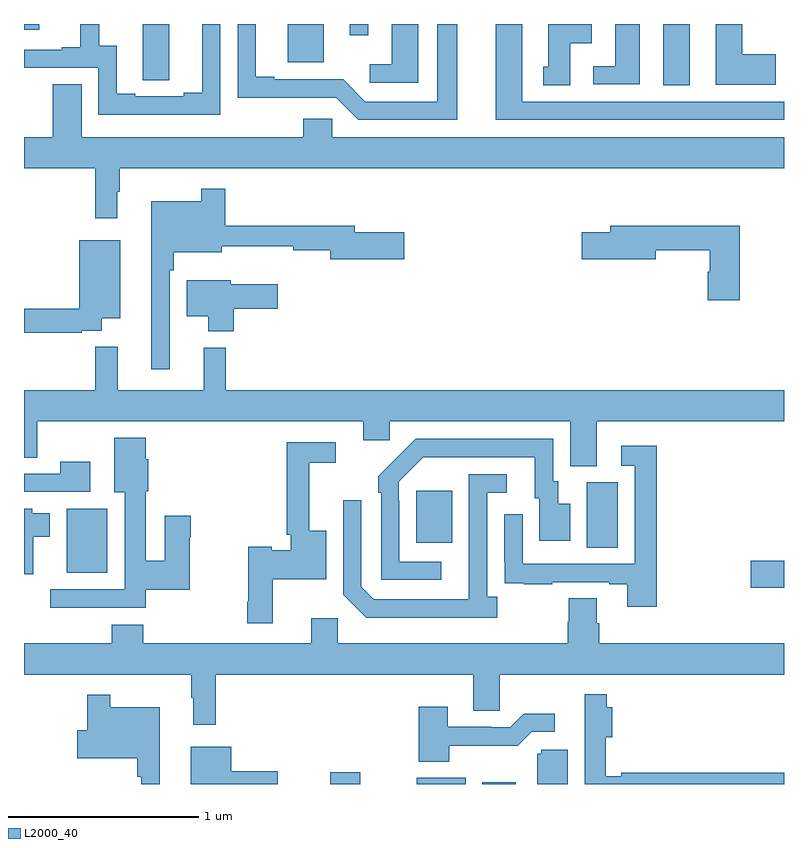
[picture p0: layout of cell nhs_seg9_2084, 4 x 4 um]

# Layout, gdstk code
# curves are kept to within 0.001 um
import gdstk
lib = gdstk.Library(unit=1e-6, precision=1e-09)
def R(c, l, rs):  # rectangles x0, y0, x1, y1
    for r in rs: c.add(gdstk.rectangle(r[:2], r[2:], *l))
def P(c, l, *ps):  # polygons
    for p in ps: c.add(gdstk.Polygon(p, *l))
L2000_40 = (2000, 40)

nhs_seg9_2084 = lib.new_cell('nhs_seg9_2084')
R(nhs_seg9_2084, L2000_40, [(230.612,1206.5,230.77,1206.562), (231.068,1206.5,231.326,1206.532), (231.411,1206.5,231.589,1206.508), (232.824,1207.534,233,1207.676), (229.226,1207.613,229.438,1207.948), (231.962,1207.744,232.126,1208.088), (231.065,1207.769,231.253,1208.044), (232.364,1210.177,232.504,1210.5), (230.387,1210.298,230.578,1210.5), (230.714,1210.44,230.811,1210.5), (229,1210.469,229.081,1210.5)])
P(nhs_seg9_2084, L2000_40, [(231.28,1210.5),(231.176,1210.5),(231.176,1210.092),(230.796,1210.092),(230.679,1210.209),(230.317,1210.209),(230.317,1210.222),(230.221,1210.222),(230.221,1210.5),(230.124,1210.5),(230.124,1210.112),(230.643,1210.113),(230.76,1209.996),(231.28,1209.996)],
  [(230.034,1210.5),(229.937,1210.5),(229.937,1210.139),(229.841,1210.139),(229.841,1210.119),(229.585,1210.119),(229.585,1210.134),(229.489,1210.134),(229.489,1210.385),(229.395,1210.385),(229.395,1210.5),(229.295,1210.5),(229.295,1210.378),(229.199,1210.378),(229.199,1210.365),(229,1210.365),(229,1210.269),(229.392,1210.269),(229.392,1210.023),(230.034,1210.023)],
  [(229.765,1210.5),(229.625,1210.5),(229.625,1210.312),(229.626,1210.312),(229.626,1210.204),(229.765,1210.204)],
  [(232.24,1210.5),(232.112,1210.5),(232.112,1210.278),(231.996,1210.278),(231.996,1210.182),(232.24,1210.182)],
  [(231.874,1210.4),(231.988,1210.4),(231.988,1210.5),(231.758,1210.5),(231.758,1210.275),(231.734,1210.275),(231.734,1210.177),(231.874,1210.177)],
  [(231.076,1210.5),(230.936,1210.5),(230.936,1210.288),(230.82,1210.288),(230.82,1210.191),(231.076,1210.191)],
  [(233,1210.092),(231.622,1210.092),(231.622,1210.5),(231.482,1210.5),(231.482,1209.996),(233,1209.996)],
  [(232.957,1210.341),(232.78,1210.341),(232.78,1210.5),(232.64,1210.5),(232.64,1210.181),(232.957,1210.181)],
  [(229.492,1209.617),(229.504,1209.617),(229.504,1209.74),(233,1209.74),(233,1209.904),(230.622,1209.904),(230.622,1210.002),(230.471,1210.002),(230.471,1209.904),(229.303,1209.904),(229.303,1210.184),(229.151,1210.184),(229.151,1209.904),(229,1209.904),(229,1209.74),(229.375,1209.74),(229.375,1209.477),(229.492,1209.477)],
  [(229.767,1209.203),(229.787,1209.203),(229.787,1209.299),(230.041,1209.299),(230.041,1209.329),(230.416,1209.329),(230.416,1209.31),(230.612,1209.31),(230.612,1209.263),(231.001,1209.263),(231.001,1209.405),(230.74,1209.405),(230.74,1209.439),(230.06,1209.439),(230.06,1209.634),(229.932,1209.634),(229.932,1209.568),(229.67,1209.568),(229.67,1208.682),(229.767,1208.682)],
  [(232.768,1209.439),(232.085,1209.439),(232.085,1209.405),(231.936,1209.405),(231.936,1209.263),(232.324,1209.263),(232.324,1209.31),(232.61,1209.31),(232.61,1209.195),(232.598,1209.195),(232.598,1209.045),(232.768,1209.045)],
  [(229.304,1208.886),(229.408,1208.886),(229.408,1208.951),(229.507,1208.951),(229.507,1209.361),(229.292,1209.361),(229.292,1209.002),(229,1209.002),(229,1208.874),(229.304,1208.874)],
  [(230.105,1209.001),(230.335,1209.001),(230.335,1209.13),(230.088,1209.13),(230.088,1209.151),(229.856,1209.151),(229.856,1208.963),(229.97,1208.963),(229.97,1208.882),(230.105,1208.882)],
  [(232.015,1208.408),(233,1208.408),(233,1208.572),(230.063,1208.572),(230.063,1208.797),(229.946,1208.797),(229.946,1208.572),(229.493,1208.572),(229.493,1208.801),(229.375,1208.801),(229.375,1208.572),(229,1208.572),(229,1208.218),(229.071,1208.218),(229.071,1208.408),(230.786,1208.408),(230.786,1208.31),(230.925,1208.31),(230.925,1208.408),(231.875,1208.408),(231.875,1208.173),(232.015,1208.173)],
  [(229.642,1207.523),(229.872,1207.523),(229.872,1207.799),(229.877,1207.799),(229.877,1207.912),(229.742,1207.912),(229.742,1207.676),(229.642,1207.676),(229.642,1208.04),(229.655,1208.04),(229.655,1208.21),(229.642,1208.21),(229.642,1208.323),(229.475,1208.323),(229.475,1208.036),(229.529,1208.036),(229.529,1207.524),(229.137,1207.524),(229.137,1207.427),(229.642,1207.427)],
  [(231.196,1207.671),(230.976,1207.671),(230.976,1207.991),(230.973,1207.991),(230.973,1208.091),(231.102,1208.22),(231.689,1208.22),(231.689,1208.004),(231.713,1208.004),(231.713,1207.779),(231.874,1207.779),(231.874,1207.975),(231.811,1207.975),(231.811,1208.094),(231.786,1208.094),(231.786,1208.316),(231.062,1208.316),(230.865,1208.121),(230.865,1208.033),(230.88,1208.033),(230.88,1207.575),(231.196,1207.575)],
  [(230.308,1207.577),(230.59,1207.577),(230.59,1207.834),(230.501,1207.834),(230.501,1208.19),(230.641,1208.19),(230.641,1208.298),(230.383,1208.298),(230.383,1207.813),(230.403,1207.813),(230.403,1207.73),(230.304,1207.73),(230.304,1207.748),(230.179,1207.748),(230.179,1207.459),(230.174,1207.459),(230.174,1207.347),(230.308,1207.347)],
  [(232.331,1208.281),(232.143,1208.281),(232.143,1208.175),(232.215,1208.175),(232.215,1207.659),(231.624,1207.659),(231.624,1207.921),(231.528,1207.921),(231.528,1207.666),(231.529,1207.666),(231.529,1207.557),(231.631,1207.557),(231.631,1207.551),(231.779,1207.551),(231.779,1207.563),(232.079,1207.563),(232.079,1207.551),(232.175,1207.551),(232.175,1207.434),(232.331,1207.434)],
  [(229.348,1208.197),(229.192,1208.197),(229.192,1208.133),(229,1208.133),(229,1208.037),(229.348,1208.037)],
  [(231.49,1207.486),(231.438,1207.486),(231.438,1208.034),(231.541,1208.034),(231.541,1208.13),(231.342,1208.13),(231.341,1207.473),(230.841,1207.473),(230.775,1207.539),(230.775,1207.993),(230.679,1207.993),(230.679,1207.497),(230.8,1207.376),(231.49,1207.376)],
  [(229.048,1207.802),(229.135,1207.802),(229.135,1207.924),(229.044,1207.924),(229.044,1207.948),(229,1207.948),(229,1207.604),(229.048,1207.604)],
  [(230.009,1207.076),(231.365,1207.076),(231.365,1206.886),(231.504,1206.886),(231.504,1207.076),(233,1207.076),(233,1207.24),(232.028,1207.24),(232.028,1207.346),(232.015,1207.346),(232.015,1207.478),(231.868,1207.478),(231.868,1207.353),(231.863,1207.353),(231.863,1207.24),(230.652,1207.24),(230.652,1207.372),(230.513,1207.372),(230.513,1207.24),(229.628,1207.24),(229.628,1207.339),(229.463,1207.339),(229.463,1207.24),(229,1207.24),(229,1207.076),(229.881,1207.076),(229.881,1206.953),(229.892,1206.953),(229.892,1206.813),(230.009,1206.813)],
  [(233,1206.56),(232.144,1206.56),(232.144,1206.542),(232.063,1206.542),(232.063,1206.746),(232.097,1206.746),(232.097,1206.904),(232.067,1206.904),(232.067,1206.973),(231.95,1206.973),(231.95,1206.75),(231.951,1206.75),(231.951,1206.5),(233,1206.5)],
  [(229.714,1206.904),(229.453,1206.904),(229.453,1206.97),(229.332,1206.97),(229.332,1206.783),(229.28,1206.783),(229.28,1206.635),(229.597,1206.635),(229.597,1206.539),(229.617,1206.539),(229.617,1206.5),(229.714,1206.5)],
  [(231.237,1206.702),(231.599,1206.701),(231.672,1206.774),(231.793,1206.774),(231.793,1206.871),(231.631,1206.871),(231.558,1206.798),(231.458,1206.798),(231.458,1206.801),(231.229,1206.801),(231.229,1206.907),(231.077,1206.907),(231.077,1206.617),(231.237,1206.617)],
  [(230.335,1206.566),(230.092,1206.566),(230.092,1206.697),(229.877,1206.697),(229.877,1206.5),(230.335,1206.5)],
  [(231.862,1206.681),(231.723,1206.681),(231.723,1206.66),(231.701,1206.66),(231.701,1206.5),(231.862,1206.5)])

lib.write_gds('nhs_seg9_2084.gds')
